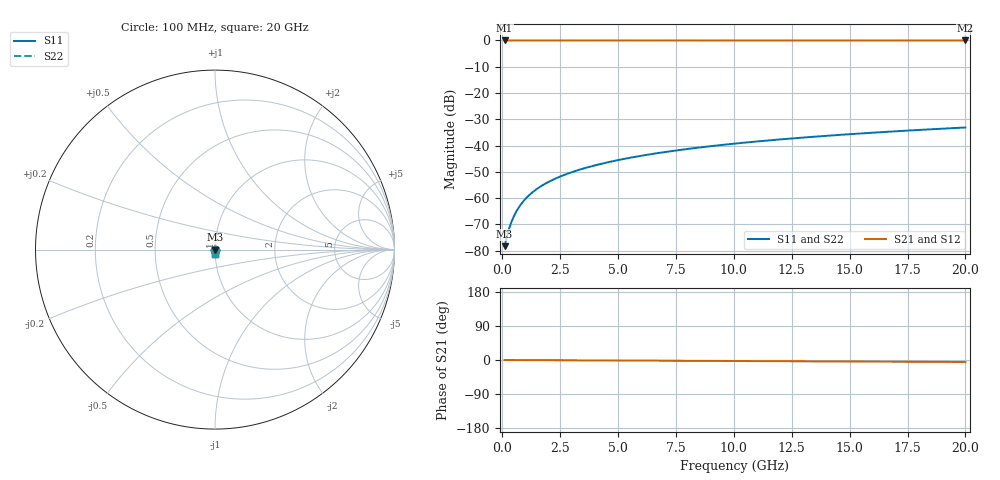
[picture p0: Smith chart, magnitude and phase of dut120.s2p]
! Touchstone file exported from HFSS 2026.1.0
!  File:  C:/ffzhzh/LocalFiles/Ansys_Project_Files/temp_train_TSV_120_1782989906_42984.aedt
!  Generated:  07:00:01 PM Jul  2, 2026
!  Design:  TSV
!  Project:  temp_train_TSV_120_1782989906_42984
! Variables:
!  h_bsmrdl = 2um
!  h_ox = 20um
!  h_rdl = 5um
!  h_sub = 50.94um
!  h_tmrdl = 5um
!  h_tsv = 50.94um
!  h_via = 3um
!  l_bsmrdl = 300um
!  l_sub = 420.26um
!  l_tmrdl = 200um
!  m_sub = 200um
!  pitch = 32.4um
!  r_tsv = 10.13um
!  s_tmrdl = 10um
!  w_bsmrdl = 18um
!  w_sub = 500um
!  w_tmrdl = 12um
!  x_tsv_center1 = 206um
!  x_tsv_center2 = 524um
!  x_tsv_center3 = 736um
!  x_tsv_center4 = 1054um
!  x_tsv_center5 = 1266um
!  x_tsv_center6 = 1584um
# GHz S MA R 50.000000
! Terminal data exported
! Port[1] = TSV1_1_T1
! Port[2] = TSV1_1_T2
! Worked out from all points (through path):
!   200 points, 100 MHz to 20 GHz, reference 50 ohm
!   highest |S21| = 0.00 dB at 100 MHz (marker M1); lowest = 0.0 dB at 20 GHz (marker M2)
!   lowest |S11| = -78.3 dB at 100 MHz (marker M3), VSWR 1.00, Z = 50 - j0.00765 ohm
!   |S11| at or under -10 dB: start of sweep to end of sweep
!   |S22| runs from -78.3 to -33.1 dB; largest |S21 - S12| = 2.5e-15
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0.1  0.0001222 -38.8  0.9999 -0.0  0.9999 -0.0  0.0001222 -38.8
! Gamma 0 0 0 0
! Port Impedance 50 0 50 0
0.2  0.0001883 -55.8  0.9999 -0.1  0.9999 -0.1  0.0001883 -55.8
0.3  0.0002687 -63.2  0.9999 -0.1  0.9999 -0.1  0.0002687 -63.2
0.4  0.0003575 -67.1  0.9999 -0.1  0.9999 -0.1  0.0003575 -67.1
0.5  0.0004522 -69.6  0.9998 -0.1  0.9998 -0.1  0.0004522 -69.6
0.6  0.0005513 -71.5  0.9998 -0.2  0.9998 -0.2  0.0005513 -71.5
0.8  0.0007575 -74.2  0.9998 -0.2  0.9998 -0.2  0.0007575 -74.2
1.1  0.001076 -77.1  0.9998 -0.3  0.9998 -0.3  0.001076 -77.1
1.3  0.00129 -78.5  0.9997 -0.4  0.9997 -0.4  0.00129 -78.5
1.5  0.001505 -79.7  0.9997 -0.4  0.9997 -0.4  0.001505 -79.7
1.8  0.001827 -81.0  0.9997 -0.5  0.9997 -0.5  0.001827 -81.0
2.1  0.00215 -82.0  0.9997 -0.6  0.9997 -0.6  0.00215 -82.0
2.7  0.002796 -83.5  0.9996 -0.7  0.9996 -0.7  0.002796 -83.5
3.5  0.003662 -84.7  0.9996 -0.9  0.9996 -0.9  0.003662 -84.7
4.2  0.004425 -85.5  0.9996 -1.1  0.9996 -1.1  0.004425 -85.5
5  0.005303 -86.2  0.9995 -1.3  0.9995 -1.3  0.005303 -86.2
6.8  0.007297 -87.4  0.9994 -1.8  0.9994 -1.8  0.007297 -87.4
8.3  0.008969 -88.2  0.9993 -2.2  0.9993 -2.2  0.008969 -88.2
10.1  0.01098 -89.1  0.9993 -2.7  0.9993 -2.7  0.01098 -89.1
13.4  0.01468 -90.5  0.9991 -3.6  0.9991 -3.6  0.01468 -90.5
16.7  0.01839 -91.7  0.999 -4.4  0.999 -4.4  0.01839 -91.7
20  0.02212 -92.8  0.9988 -5.3  0.9988 -5.3  0.02212 -92.8
